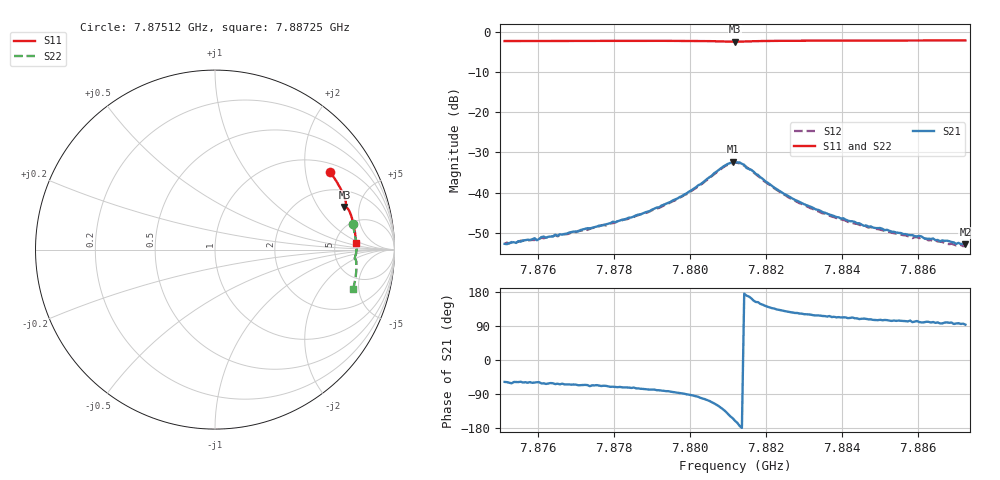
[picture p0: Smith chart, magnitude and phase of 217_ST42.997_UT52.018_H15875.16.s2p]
#  HZ  S  DB  R  50.00
! Rohde & Schwarz Vector Network Analyzer
! Rohde-Schwarz,ZNB20-2Port,1311601062101988,3.16
! Created: UTC 1/12/2023, 6:45:33 PM
! freq[Hz]  db:S11  ang:S11  db:S21  ang:S21  db:S12  ang:S12  db:S22  ang:S22
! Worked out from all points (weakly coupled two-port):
!   201 points, 7.87512 GHz to 7.88725 GHz, reference 50 ohm
!   highest |S21| = -32.34 dB at 7.88112 GHz (marker M1); lowest = -53.0 dB at 7.88725 GHz (marker M2)
!   lowest |S11| = -2.4 dB at 7.88118 GHz (marker M3), VSWR 7.32, Z = 158 + j177 ohm
!   |S11| at or under -10 dB: nowhere
!   |S22| runs from -2.3 to -1.9 dB; largest |S21 - S12| = 0.0017
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7.875116e9  -2.23 34.2  -52.80 -57.8  -52.82 -61.1  -2.16 10.4
7.875904e9  -2.22 32.1  -51.40 -59.6  -51.85 -62.7  -2.14 8.6
7.875965e9  -2.22 31.9  -51.91 -58.6  -51.47 -63.6  -2.14 8.4
7.876086e9  -2.21 31.5  -51.11 -61.8  -51.25 -64.3  -2.14 8.1
7.876511e9  -2.21 30.4  -50.79 -62.5  -50.92 -66.5  -2.13 7.1
7.877178e9  -2.20 28.6  -49.20 -66.0  -49.41 -69.6  -2.10 5.5
7.878027e9  -2.19 26.3  -47.43 -71.0  -47.50 -73.8  -2.09 3.6
7.879179e9  -2.18 23.0  -43.70 -79.9  -43.85 -83.0  -2.07 0.8
7.879907e9  -2.19 20.9  -40.20 -90.6  -40.41 -93.8  -2.08 -1.0
7.880878e9  -2.33 18.3  -33.49 -131.0  -33.68 -134.5  -2.22 -3.3
7.88112e9  -2.38 18.2  -32.34 -153.7  -32.66 -157.0  -2.28 -3.3
7.881181e9  -2.39 18.2  -32.57 -160.5  -32.58 -163.4  -2.28 -3.2
7.881424e9  -2.35 18.2  -33.09 175.1  -33.30 173.0  -2.24 -3.2
7.881484e9  -2.33 18.1  -33.89 169.9  -33.63 167.7  -2.23 -3.2
7.882455e9  -2.16 15.5  -40.24 129.7  -40.47 126.5  -2.04 -5.3
7.883243e9  -2.13 13.3  -43.85 118.1  -44.16 114.9  -2.00 -7.2
7.884153e9  -2.11 10.8  -47.01 110.5  -47.32 107.9  -1.97 -9.3
7.884578e9  -2.11 9.7  -48.32 109.2  -48.11 105.8  -1.96 -10.2
7.885245e9  -2.10 7.9  -49.53 104.0  -49.81 100.7  -1.96 -11.7
7.885851e9  -2.09 6.3  -50.63 99.9  -51.38 97.9  -1.95 -13.0
7.886094e9  -2.09 5.7  -50.98 99.0  -51.24 97.0  -1.94 -13.6
7.887246e9  -2.08 2.7  -52.96 93.3  -53.28 91.8  -1.94 -16.0
